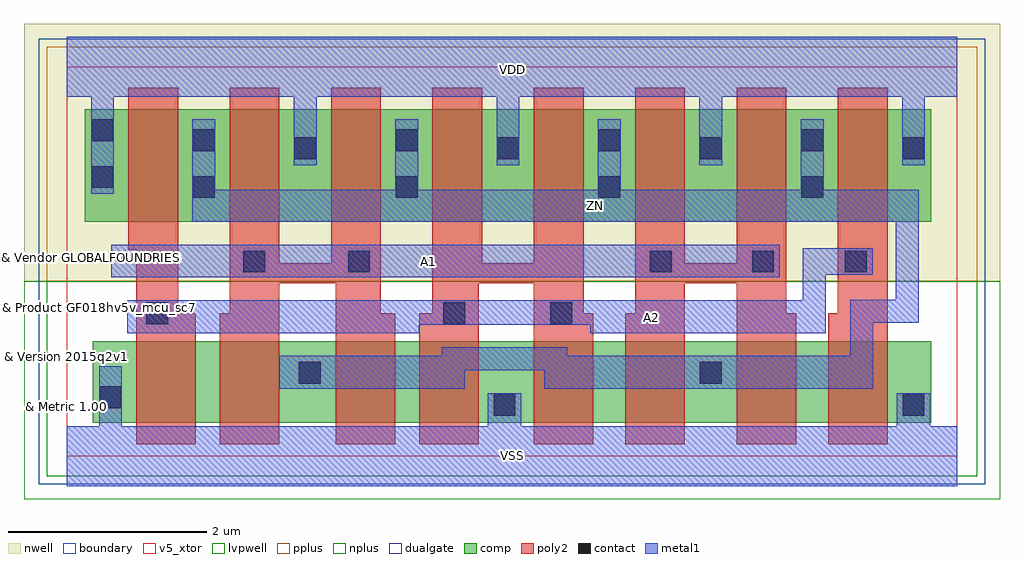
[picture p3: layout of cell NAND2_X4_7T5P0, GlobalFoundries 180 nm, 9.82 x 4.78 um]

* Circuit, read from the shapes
.subckt NAND2_X4_7T5P0 A1 A2 VDD VSS ZN
XM1 n1 A2 VSS VSUBS nfet_05v0 w=0.82u l=0.6u
XM2 ZN A1 n1 VSUBS nfet_05v0 w=0.82u l=0.6u
XM3 n2 A1 ZN VSUBS nfet_05v0 w=0.82u l=0.6u
XM4 VSS A2 n2 VSUBS nfet_05v0 w=0.82u l=0.6u
XM5 n3 A2 VSS VSUBS nfet_05v0 w=0.82u l=0.6u
XM6 ZN A1 n3 VSUBS nfet_05v0 w=0.82u l=0.6u
XM7 n4 A1 ZN VSUBS nfet_05v0 w=0.82u l=0.6u
XM8 VSS A2 n4 VSUBS nfet_05v0 w=0.82u l=0.6u
XM9 ZN A2 VDD n5 pfet_05v0 w=1.13u l=0.5u m=4
XM10 VDD A1 ZN n5 pfet_05v0 w=1.13u l=0.5u m=4
.ends

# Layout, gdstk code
import gdstk
lib = gdstk.Library(unit=1e-6, precision=1e-09)
def R(c, l, rs):  # rectangles x0, y0, x1, y1
    for r in rs: c.add(gdstk.rectangle(r[:2], r[2:], *l))
def A(c, l, x, y, w, h, nx, ny, dx, dy):  # array of equal rectangles
    R(c, l, [(x+i*dx, y+j*dy, x+i*dx+w, y+j*dy+h) for i in range(nx) for j in range(ny)])
def P(c, l, *ps):  # polygons
    for p in ps: c.add(gdstk.Polygon(p, *l))
boundary = (0, 0)
nwell = (21, 0)
comp = (22, 0)
poly2 = (30, 0)
pplus = (31, 0)
nplus = (32, 0)
contact = (33, 0)
metal1 = (34, 0)
dualgate = (55, 0)
v5_xtor = (112, 1)
lvpwell = (204, 0)

nand2_x4_7t5p0 = lib.new_cell('NAND2_X4_7T5P0')
R(nand2_x4_7t5p0, boundary, [(0,0,8.96,3.92)])
R(nand2_x4_7t5p0, nwell, [(-0.43,1.76,9.39,4.35)])
R(nand2_x4_7t5p0, comp, [(0.26,0.34,8.7,1.16), (0.18,2.36,8.7,3.49)])
P(nand2_x4_7t5p0, poly2, [(0.62,2.08),(0.7,2.08),(0.7,0.12),(1.3,0.12),(1.3,1.44),(1.12,1.44),(1.12,3.71),(0.62,3.71)],
  [(1.54,0.12),(2.14,0.12),(2.14,1.74),(2.705,1.74),(2.705,0.12),(3.305,0.12),(3.305,1.44),(3.16,1.44),(3.16,3.71),(2.66,3.71),(2.66,1.94),(2.14,1.94),(2.14,3.71),(1.64,3.71),(1.64,1.44),(1.54,1.44)],
  [(3.545,0.12),(4.145,0.12),(4.145,1.74),(4.7,1.74),(4.7,0.12),(5.3,0.12),(5.3,1.44),(5.2,1.44),(5.2,3.71),(4.7,3.71),(4.7,1.94),(4.18,1.94),(4.18,3.71),(3.68,3.71),(3.68,1.44),(3.545,1.44)],
  [(5.62,0.12),(6.22,0.12),(6.22,1.74),(6.74,1.74),(6.74,0.12),(7.34,0.12),(7.34,1.44),(7.24,1.44),(7.24,3.71),(6.74,3.71),(6.74,1.94),(6.22,1.94),(6.22,3.71),(5.72,3.71),(5.72,1.44),(5.62,1.44)],
  [(7.66,0.12),(8.26,0.12),(8.26,3.71),(7.76,3.71),(7.76,1.44),(7.66,1.44)])
R(nand2_x4_7t5p0, pplus, [(-0.2,1.76,9.16,4.12)])
R(nand2_x4_7t5p0, nplus, [(-0.2,-0.2,9.16,1.76)])
A(nand2_x4_7t5p0, contact, 1.27, 2.6, 0.22, 0.22, 4, 2, 2.04, 0.47)
A(nand2_x4_7t5p0, contact, 2.29, 2.99, 0.22, 0.22, 4, 1, 2.04, 0)
R(nand2_x4_7t5p0, contact, [(4.295,0.41,4.515,0.63), (8.41,0.41,8.63,0.63), (0.33,0.485,0.55,0.705), (2.335,0.73,2.555,0.95), (6.37,0.73,6.59,0.95), (0.8,1.33,1.02,1.55), (3.79,1.33,4.01,1.55), (4.865,1.33,5.085,1.55), (1.775,1.85,1.995,2.07), (2.83,1.85,3.05,2.07), (5.865,1.85,6.085,2.07), (6.895,1.85,7.115,2.07), (7.83,1.85,8.05,2.07), (0.25,2.7,0.47,2.92), (0.25,3.17,0.47,3.39)])
R(nand2_x4_7t5p0, metal1, [(0.45,1.8,7.175,2.13)])
P(nand2_x4_7t5p0, metal1, [(0.61,1.24),(3.545,1.24),(3.545,1.325),(5.265,1.325),(5.265,1.24),(7.635,1.24),(7.635,1.825),(8.11,1.825),(8.11,2.095),(7.405,2.095),(7.405,1.57),(0.61,1.57)],
  [(1.265,2.36),(8.34,2.36),(8.34,1.575),(7.885,1.575),(7.885,1.01),(5.035,1.01),(5.035,1.095),(3.775,1.095),(3.775,1.01),(2.14,1.01),(2.14,0.68),(4.005,0.68),(4.005,0.865),(4.805,0.865),(4.805,0.68),(8.115,0.68),(8.115,1.345),(8.57,1.345),(8.57,2.68),(7.615,2.68),(7.615,3.39),(7.385,3.39),(7.385,2.68),(5.575,2.68),(5.575,3.39),(5.345,3.39),(5.345,2.68),(3.535,2.68),(3.535,3.39),(3.305,3.39),(3.305,2.68),(1.495,2.68),(1.495,3.39),(1.265,3.39)],
  [(0,-0.3),(8.96,-0.3),(8.96,0.3),(8.69,0.3),(8.69,0.635),(8.35,0.635),(8.35,0.3),(4.575,0.3),(4.575,0.635),(4.235,0.635),(4.235,0.3),(0.555,0.3),(0.555,0.905),(0.325,0.905),(0.325,0.3),(0,0.3)],
  [(0,3.62),(0.245,3.62),(0.245,2.64),(0.475,2.64),(0.475,3.62),(2.285,3.62),(2.285,2.93),(2.515,2.93),(2.515,3.62),(4.325,3.62),(4.325,2.93),(4.555,2.93),(4.555,3.62),(6.365,3.62),(6.365,2.93),(6.595,2.93),(6.595,3.62),(8.405,3.62),(8.405,2.93),(8.635,2.93),(8.635,3.62),(8.96,3.62),(8.96,4.22),(0,4.22)])
R(nand2_x4_7t5p0, dualgate, [(-0.28,-0.28,9.24,4.2)])
R(nand2_x4_7t5p0, v5_xtor, [(0,0,8.96,3.92)])
R(nand2_x4_7t5p0, lvpwell, [(-0.43,-0.43,9.39,1.76)])
nand2_x4_7t5p0.add(gdstk.Label('VDD', (4.48,3.895), layer=34, texttype=10))
nand2_x4_7t5p0.add(gdstk.Label('VSS', (4.48,0.005), layer=34, texttype=10))
nand2_x4_7t5p0.add(gdstk.Label('ZN', (5.32,2.52), layer=34, texttype=10))
nand2_x4_7t5p0.add(gdstk.Label('A1', (3.64,1.96), layer=34, texttype=10))
nand2_x4_7t5p0.add(gdstk.Label('A2', (5.88,1.4), layer=34, texttype=10))
nand2_x4_7t5p0.add(gdstk.Label('& Vendor GLOBALFOUNDRIES', (0,2), layer=63, texttype=63))
nand2_x4_7t5p0.add(gdstk.Label('& Product GF018hv5v_mcu_sc7', (0,1.5), layer=63, texttype=63))
nand2_x4_7t5p0.add(gdstk.Label('& Version 2015q2v1', (0,1), layer=63, texttype=63))
nand2_x4_7t5p0.add(gdstk.Label('& Metric 1.00', (0,0.5), layer=63, texttype=63))

lib.write_gds('NAND2_X4_7T5P0.gds')
